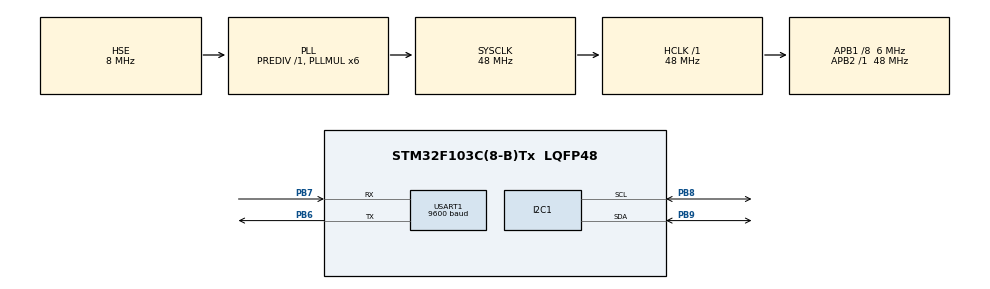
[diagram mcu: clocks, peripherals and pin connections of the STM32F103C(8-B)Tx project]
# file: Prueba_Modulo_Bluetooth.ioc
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I2C1.I2C_Mode=I2C_Standard
Mcu.Family=STM32F1
Mcu.Name=STM32F103C(8-B)Tx
Mcu.Package=LQFP48
NVIC.I2C1_EV_IRQn=true\:0\:0\:false\:false\:true\:true\:true\:true
NVIC.PriorityGroup=NVIC_PRIORITYGROUP_4
NVIC.TIM3_IRQn=true\:0\:0\:false\:false\:true\:true\:true\:true
NVIC.USART1_IRQn=true\:0\:0\:false\:false\:true\:true\:true\:true
PA13.Mode=Serial_Wire
PA13.Signal=SYS_JTMS-SWDIO
PA14.Mode=Serial_Wire
PA14.Signal=SYS_JTCK-SWCLK
PB6.Mode=Asynchronous
PB6.Signal=USART1_TX
PB7.Mode=Asynchronous
PB7.Signal=USART1_RX
PB8.Mode=I2C
PB8.Signal=I2C1_SCL
PB9.Mode=I2C
PB9.Signal=I2C1_SDA
PD0-OSC_IN.Mode=HSE-External-Oscillator
PD0-OSC_IN.Signal=RCC_OSC_IN
PD1-OSC_OUT.Mode=HSE-External-Oscillator
PD1-OSC_OUT.Signal=RCC_OSC_OUT
ProjectManager.HeapSize=0x200
ProjectManager.StackSize=0x400
ProjectManager.TargetToolchain=STM32CubeIDE
RCC.AHBFreq_Value=48000000
RCC.APB1CLKDivider=RCC_HCLK_DIV8
RCC.APB1Freq_Value=6000000
RCC.APB1TimFreq_Value=12000000
RCC.APB2Freq_Value=48000000
RCC.APB2TimFreq_Value=48000000
RCC.HCLKFreq_Value=48000000
RCC.PLLMUL=RCC_PLL_MUL6
RCC.PLLSourceVirtual=RCC_PLLSOURCE_HSE
RCC.SYSCLKFreq_VALUE=48000000
RCC.SYSCLKSource=RCC_SYSCLKSOURCE_PLLCLK
RCC.USBFreq_Value=48000000
TIM3.Period=64000
TIM3.Prescaler=750
USART1.BaudRate=9600
USART1.VirtualMode=VM_ASYNC
VP_TIM3_VS_ClockSourceINT.Mode=Internal
board=custom

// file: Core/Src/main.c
/* USER CODE BEGIN Header */
/**
 ******************************************************************************
 * @file           : main.c
 * @brief          : Main program body
 ******************************************************************************
 * @attention
 *
 * Copyright (c) 2022 STMicroelectronics.
 * All rights reserved.
 *
 * This software is licensed under terms that can be found in the LICENSE file
 * in the root directory of this software component.
 * If no LICENSE file comes with this software, it is provided AS-IS.
 *
 ******************************************************************************
 */
/* USER CODE END Header */
#include "main.h"

/* USER CODE BEGIN Includes */
#include "stdio.h"
#include "string.h"
/* USER CODE END Includes */

/* USER CODE BEGIN PD */
#define I2C_ADDRESS_AHT10 0x38
#define TRIGGER_MEASUREMENT 0xAC
#define DATA0 0x33
#define DATA1 0x00
/* USER CODE END PD */

I2C_HandleTypeDef hi2c1;

TIM_HandleTypeDef htim3;

UART_HandleTypeDef huart1;

/* USER CODE BEGIN PV */
float tcelsius, hr; // Temperatura (en °C) y humedad relativa (%)
_Bool flag_muestras=0; // Variable bandera para iniciar la toma de muestras de la temp. y humedad cada 1 s

/* USER CODE END PV */

void SystemClock_Config(void);
static void MX_GPIO_Init(void);
static void MX_I2C1_Init(void);
static void MX_TIM3_Init(void);
static void MX_USART1_UART_Init(void);
/* USER CODE BEGIN PFP */
void AHT10_Read(void);
void Serial_Print(char[],char,void*);
void Serial_Println(char[],char,float);
/* USER CODE END PFP */

/* USER CODE BEGIN 0 */

/* Este programa permite mandar los datos de temperatura y humedad leídos del sensor AHT10 a través del módulo
 * Bluetooth, para poder visualizar esos datos en una app del teléfono llamada Bluetooth Electronics */

void HAL_TIM_PeriodElapsedCallback (TIM_HandleTypeDef * htim){

	flag_muestras=1;
}

/* Esta función permite leer datos de temperatura y humedad del sensor AHT10. Para que el sensor
 * comience con las mediciones, es necesario enviar un comando de disparo de medición (trigger
 * measurement) junto con dos bytes de datos DATA0 y DATA1. El sensor tardará un tiempo en
 * realizar la medición y recolectar los datos (más de 75 ms). Transcurrido ese tiempo,
 * los datos de temperatura y humedad son recibidos, repartidos en 5 bytes, junto con un byte que
 * indica el estado del sensor */
void AHT10_Read(){

	/* Definimos el comando de disparo de medición y lo enviamos a través de I2C1 */
	uint8_t triggerdata[3] = {TRIGGER_MEASUREMENT,DATA0,DATA1};
	HAL_I2C_Master_Transmit(&hi2c1, I2C_ADDRESS_AHT10<<1, triggerdata, sizeof(triggerdata), 0xFFFF);
	HAL_Delay(100); // Demora de 100 ms para que el sensor recolecte los datos

	/* Debemos recibir el dato de temperatura y humedad y guardarlo en la variable correspondiente.
	 * Para ello debemos tener en cuenta que la trama de comunicación serie recibida desde el sensor
	 * constará de 6 bytes:
	 * - BYTE 0: Byte de estado (status) que indica el estado del sensor
	 * - BYTE 1: Dato de humedad
	 * - BYTE 2: Dato de humedad
	 * - BYTE 3: Dato de humedad (4 bits más significativos) y dato de temp. (4 bits menos significativos)
	 * - BYTE 4: Dato de temperatura
	 * - BYTE 5: Dato de temperatura
	 * Tanto el dato de temperatura como el dato de humedad ocupan 20 bits.
	 */
	uint32_t temp, hum; // Variables para guardar los datos recibidos de temperatura y humedad
	uint8_t bufdata[6]; // Buffer para guardar los datos recibidos desde el sensor
	if(HAL_I2C_Master_Receive(&hi2c1, I2C_ADDRESS_AHT10<<1, bufdata, sizeof(bufdata), 0xFFFF) == HAL_OK){

		/* Obtenemos el dato de humedad y lo guardamos en la variable hum */
		hum=bufdata[1]<<8; // Desplazamos el BYTE 1 8 posiciones hacia la izquierda
		hum|=bufdata[2]; // Concatenamos el BYTE 2 usando el operador lógico OR
		hum<<=4; // Desplazamos el contenido de hum 4 pos. hacia la izq.
		hum|=(bufdata[3] & 0xF0)>>4; // Concanetamos los 4 bits más significativos del BYTE 3 usando una máscara y el operador OR

		/* Obtenemos el dato de temperatura y lo guardamos en la variable temp */
		temp=(bufdata[3] & 0x0F)<<8; // Obtenemos los 4 bits menos significativos del BYTE3 usando una máscara y los desplazamos 8 pos. hacia la der.
		temp|=bufdata[4]; // Concatenamos el BYTE 4 usando el operador OR
		temp<<=8; // Desplazamos el contenido de temp 8 pos. hacia la der.
		temp|=bufdata[5]; // Concatenamos el BYTE 5 usando el operador OR

		/* Realizamos la conversión del dato de temperatura recibido desde la línea SDA a temperatura
		 * expresada en grados celsius (°C) utilizando la fórmula provista por la hoja de datos
		 * T(°C)=(temp/2^20)*200-50
		 * Como 2^20=1.048.576 --> T(°C)=(temp/1048576)*200-50 */
		tcelsius=(temp/1048576.0)*200.0-50.0;

		/* Realizamos la conversión del dato de humedad recibido desde la línea SDA a humedad
		 * relativa expresada en porcentaje, utilizando la fórmula provista por la hoja de datos
		 * HR=(hum/2^20)*100
		 * Como 2^20=1.048.576 --> HR=(hum/1048576)*100 */
		hr=(hum/1048576.0)*100.0;
	}
}

void Serial_Print(char msj[], char rxchar, void *dat){

	uint8_t buf[40];
	char str1[40] = {'*',rxchar};
	char str2[2] = {'*'};

	strcat(str1,msj);
	strcat(str1,str2);

	sprintf((char*)buf,str1);
	HAL_UART_Transmit(&huart1, buf, strlen((const char*)buf),100);
}

void Serial_Println_Float(char msj[], char rxchar, float dat){

	uint8_t buf[40];
	char str1[40] = {'*',rxchar};
	char str2[3] = "\n*";

	strcat(str1,msj);
	strcat(str1,str2);

	sprintf((char*)buf,str1,dat);
	HAL_UART_Transmit(&huart1, buf, strlen((const char*)buf),100);
}

/* USER CODE END 0 */

int main(void)
{

  /* MCU Configuration--------------------------------------------------------*/

  /* Reset of all peripherals, Initializes the Flash interface and the Systick. */
  HAL_Init();

  /* Configure the system clock */
  SystemClock_Config();

  /* Initialize all configured peripherals */
  MX_GPIO_Init();
  MX_I2C1_Init();
  MX_TIM3_Init();
  MX_USART1_UART_Init();
  /* USER CODE BEGIN 2 */
  //HM10_Init_AT_Commands();
  //uint8_t buffer[30];

  /* USER CODE END 2 */

  /* Infinite loop */
	while (1)
	{

    /* USER CODE BEGIN 3 */
		if(flag_muestras==1){
			flag_muestras=0;
			AHT10_Read();
			Serial_Println_Float("Temperatura: %2.1f °C",'A',tcelsius);
			Serial_Println_Float("Humedad: %2.1f %",'A',hr);
			//sprintf((char*)buffer,"*ATemperatura: %2.1f\n*",tcelsius);
			//HAL_UART_Transmit(&huart1, buffer, strlen((const char*)buffer),100);
			//sprintf((char*)buffer,"*AHumedad: %2.1f\n*",hr);
			//HAL_UART_Transmit(&huart1, buffer, strlen((const char*)buffer),100);
		}
	}
  /* USER CODE END 3 */
}

void SystemClock_Config(void)
{
  RCC_OscInitTypeDef RCC_OscInitStruct = {0};
  RCC_ClkInitTypeDef RCC_ClkInitStruct = {0};

  /** Initializes the RCC Oscillators according to the specified parameters
  * in the RCC_OscInitTypeDef structure.
  */
  RCC_OscInitStruct.OscillatorType = RCC_OSCILLATORTYPE_HSE;
  RCC_OscInitStruct.HSEState = RCC_HSE_ON;
  RCC_OscInitStruct.HSEPredivValue = RCC_HSE_PREDIV_DIV1;
  RCC_OscInitStruct.HSIState = RCC_HSI_ON;
  RCC_OscInitStruct.PLL.PLLState = RCC_PLL_ON;
  RCC_OscInitStruct.PLL.PLLSource = RCC_PLLSOURCE_HSE;
  RCC_OscInitStruct.PLL.PLLMUL = RCC_PLL_MUL6;
  if (HAL_RCC_OscConfig(&RCC_OscInitStruct) != HAL_OK)
  {
    Error_Handler();
  }

  /** Initializes the CPU, AHB and APB buses clocks
  */
  RCC_ClkInitStruct.ClockType = RCC_CLOCKTYPE_HCLK|RCC_CLOCKTYPE_SYSCLK
                              |RCC_CLOCKTYPE_PCLK1|RCC_CLOCKTYPE_PCLK2;
  RCC_ClkInitStruct.SYSCLKSource = RCC_SYSCLKSOURCE_PLLCLK;
  RCC_ClkInitStruct.AHBCLKDivider = RCC_SYSCLK_DIV1;
  RCC_ClkInitStruct.APB1CLKDivider = RCC_HCLK_DIV8;
  RCC_ClkInitStruct.APB2CLKDivider = RCC_HCLK_DIV1;

  if (HAL_RCC_ClockConfig(&RCC_ClkInitStruct, FLASH_LATENCY_1) != HAL_OK)
  {
    Error_Handler();
  }
}

static void MX_I2C1_Init(void)
{

  hi2c1.Instance = I2C1;
  hi2c1.Init.ClockSpeed = 100000;
  hi2c1.Init.DutyCycle = I2C_DUTYCYCLE_2;
  hi2c1.Init.OwnAddress1 = 0;
  hi2c1.Init.AddressingMode = I2C_ADDRESSINGMODE_7BIT;
  hi2c1.Init.DualAddressMode = I2C_DUALADDRESS_DISABLE;
  hi2c1.Init.OwnAddress2 = 0;
  hi2c1.Init.GeneralCallMode = I2C_GENERALCALL_DISABLE;
  hi2c1.Init.NoStretchMode = I2C_NOSTRETCH_DISABLE;
  if (HAL_I2C_Init(&hi2c1) != HAL_OK)
  {
    Error_Handler();
  }

}

static void MX_TIM3_Init(void)
{

  TIM_ClockConfigTypeDef sClockSourceConfig = {0};
  TIM_MasterConfigTypeDef sMasterConfig = {0};

  htim3.Instance = TIM3;
  htim3.Init.Prescaler = 750;
  htim3.Init.CounterMode = TIM_COUNTERMODE_UP;
  htim3.Init.Period = 64000;
  htim3.Init.ClockDivision = TIM_CLOCKDIVISION_DIV1;
  htim3.Init.AutoReloadPreload = TIM_AUTORELOAD_PRELOAD_DISABLE;
  if (HAL_TIM_Base_Init(&htim3) != HAL_OK)
  {
    Error_Handler();
  }
  sClockSourceConfig.ClockSource = TIM_CLOCKSOURCE_INTERNAL;
  if (HAL_TIM_ConfigClockSource(&htim3, &sClockSourceConfig) != HAL_OK)
  {
    Error_Handler();
  }
  sMasterConfig.MasterOutputTrigger = TIM_TRGO_RESET;
  sMasterConfig.MasterSlaveMode = TIM_MASTERSLAVEMODE_DISABLE;
  if (HAL_TIMEx_MasterConfigSynchronization(&htim3, &sMasterConfig) != HAL_OK)
  {
    Error_Handler();
  }
  /* USER CODE BEGIN TIM3_Init 2 */
	HAL_TIM_Base_Start_IT(&htim3); // Inicializamos la generación de base de tiempos del TIM3 en modo no bloqueante
  /* USER CODE END TIM3_Init 2 */

}

static void MX_USART1_UART_Init(void)
{

  huart1.Instance = USART1;
  huart1.Init.BaudRate = 9600;
  huart1.Init.WordLength = UART_WORDLENGTH_8B;
  huart1.Init.StopBits = UART_STOPBITS_1;
  huart1.Init.Parity = UART_PARITY_NONE;
  huart1.Init.Mode = UART_MODE_TX_RX;
  huart1.Init.HwFlowCtl = UART_HWCONTROL_NONE;
  huart1.Init.OverSampling = UART_OVERSAMPLING_16;
  if (HAL_UART_Init(&huart1) != HAL_OK)
  {
    Error_Handler();
  }

}

static void MX_GPIO_Init(void)
{

  /* GPIO Ports Clock Enable */
  __HAL_RCC_GPIOD_CLK_ENABLE();
  __HAL_RCC_GPIOA_CLK_ENABLE();
  __HAL_RCC_GPIOB_CLK_ENABLE();

}

void Error_Handler(void)
{
	__disable_irq();
	while (1)
	{
	}
}
